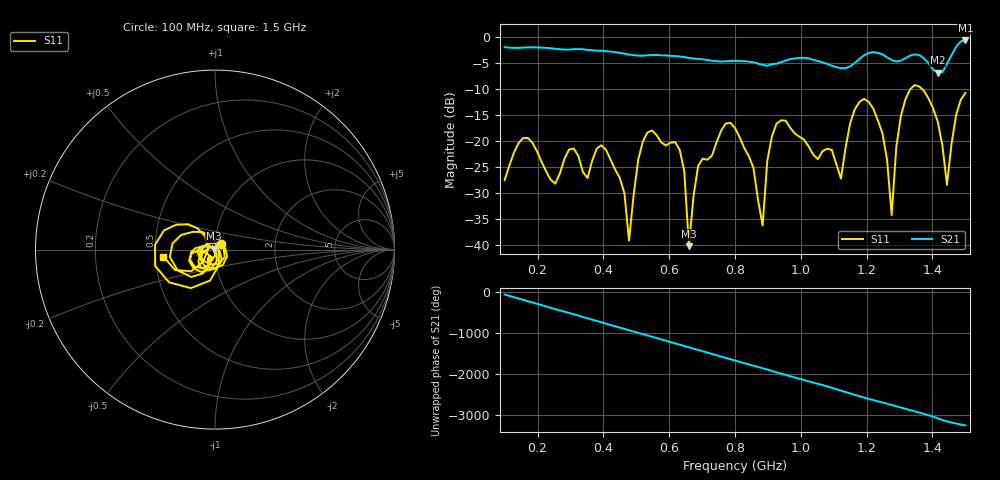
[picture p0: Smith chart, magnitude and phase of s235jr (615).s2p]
! NanoVNA-App
! Date: 2025-09-25 15:08:57
! Start: 100MHz Stop: 1,5GHz Points: 101
! S-Parameter data: F S11 S21 S12 S22
# Hz S RI R 50
!  Frequency  S11_Real  S11_Imag  S21_Real  S21_Imag  S12_Real  S12_Imag  S22_Real  S22_Imag
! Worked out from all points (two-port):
!   101 points, 100 MHz to 1.5 GHz, reference 50 ohm
!   highest |S21| = -0.67 dB at 1.5 GHz (marker M1); lowest = -6.8 dB at 1.416 GHz (marker M2)
!   |S21| within 3 dB of the highest: start of sweep to 618.5 MHz; 1.189 GHz to 1.256 GHz (67.53 MHz wide, 5.52 % of centre) (the widest 2 of 4)
!   lowest |S11| = -40.2 dB at 660 MHz (marker M3), VSWR 1.02, Z = 49.2 + j0.544 ohm
!   |S11| at or under -10 dB: start of sweep to 1.333 GHz; 1.368 GHz to end of sweep
!   S12 and S22 are empty: the file has one direction only
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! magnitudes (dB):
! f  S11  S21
! 100 MHz  -27.5  -2.0
! 156 MHz  -19.4  -2.0
! 338 MHz  -25.9  -2.4
! 408 MHz  -21.7  -2.7
! 478 MHz  -39.1  -3.4
! 520 MHz  -20.1  -3.6
! 576 MHz  -20.2  -3.5
! 632 MHz  -21.6  -3.7
! 660 MHz  -40.2  -4.0
! 688 MHz  -24.8  -4.2
! 800 MHz  -17.5  -4.6
! 884 MHz  -36.2  -5.3
! 926 MHz  -16.7  -5.1
! 1.038 GHz  -22.6  -4.4
! 1.122 GHz  -27.2  -6.0
! 1.206 GHz  -12.4  -3.1
! 1.276 GHz  -34.2  -4.4
! 1.29 GHz  -21.1  -4.7
! 1.332 GHz  -10.1  -3.6
! 1.416 GHz  -16.2  -6.8
! 1.444 GHz  -28.4  -5.1
! 1.5 GHz  -10.7  -0.7
